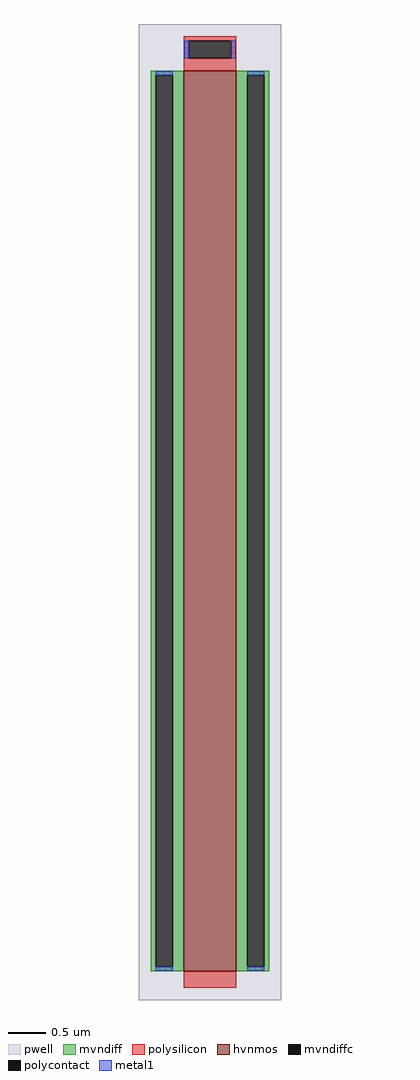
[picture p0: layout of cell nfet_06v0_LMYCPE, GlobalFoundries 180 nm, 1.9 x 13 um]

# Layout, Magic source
magic
tech gf180mcuD
magscale 1 10
<< pwell >>
rect -190 -1300 190 1300
<< hvnmos >>
rect -70 -1224 70 1176
<< mvndiff >>
rect -158 1163 -70 1176
rect -158 -1211 -145 1163
rect -99 -1211 -70 1163
rect -158 -1224 -70 -1211
rect 70 1163 158 1176
rect 70 -1211 99 1163
rect 145 -1211 158 1163
rect 70 -1224 158 -1211
<< mvndiffc >>
rect -145 -1211 -99 1163
rect 99 -1211 145 1163
<< polysilicon >>
rect -70 1255 70 1268
rect -70 1209 -57 1255
rect 57 1209 70 1255
rect -70 1176 70 1209
rect -70 -1268 70 -1224
<< polycontact >>
rect -57 1209 57 1255
<< metal1 >>
rect -68 1209 -57 1255
rect 57 1209 68 1255
rect -145 1163 -99 1174
rect -145 -1222 -99 -1211
rect 99 1163 145 1174
rect 99 -1222 145 -1211
<< properties >>
string gencell nfet_06v0
string library gf180mcu
string parameters w 12 l 0.7 m 1 nf 1 diffcov 100 polycov 100 guard 0 glc 0 grc 0 gtc 0 gbc 0 tbcov 100 rlcov 100 topc 1 botc 0 poverlap 0 doverlap 1 lmin 0.7 wmin 0.3 class mosfet full_metal 0 compatible {nfet_03v3 nfet_05v0 nfet_06v0 nfet_06v0_nvt}
<< end >>
